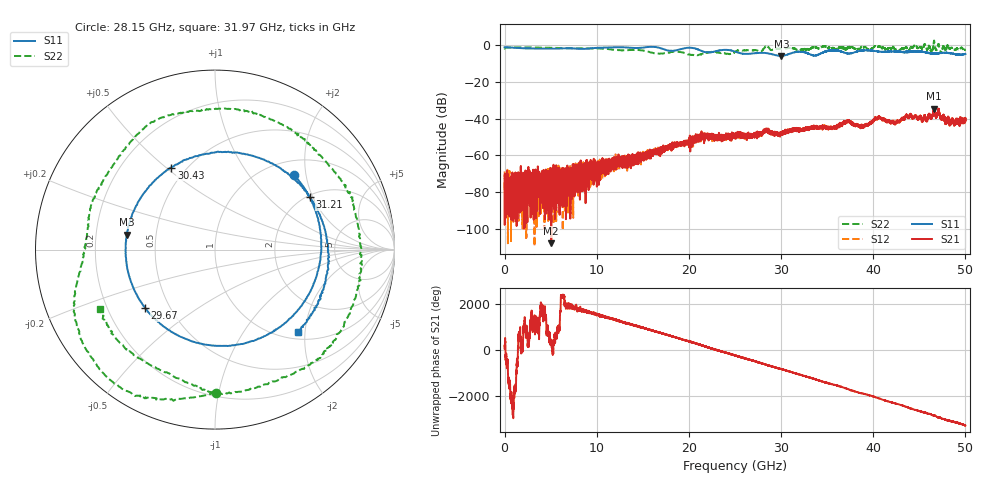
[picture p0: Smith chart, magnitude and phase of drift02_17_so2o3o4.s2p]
!Created with skrf (http://scikit-rf.org).
# Hz S RI R 50.0
!freq ReS11 ImS11 ReS21 ImS21 ReS12 ImS12 ReS22 ImS22
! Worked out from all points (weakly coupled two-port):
!   10001 points, 300 kHz to 50 GHz, reference 50 ohm
!   highest |S21| = -34.53 dB at 46.61 GHz (marker M1); lowest = -107.7 dB at 5.065 GHz (marker M2)
!   lowest |S11| = -6.1 dB at 30.04 GHz (marker M3), VSWR 2.97, Z = 16.9 + j3.72 ohm
!   |S11| at or under -10 dB: nowhere
!   |S22| runs from -5.7 to 2.4 dB; largest |S21 - S12| = 0.0032
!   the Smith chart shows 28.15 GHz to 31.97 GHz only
!   S11 on the Smith chart (normalised r, x): 28.15 GHz: 1.30, +1.71; 29.67 GHz: 0.36, -0.32; 30.43 GHz: 0.42, +0.52; 31.21 GHz: 2.07, +1.91; 31.97 GHz: 1.16, -1.84
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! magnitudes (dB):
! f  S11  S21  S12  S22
! 300 kHz  -1.3  -72.9  -68.7  -2.0
! 260.3 MHz  -1.4  -83.7  -76.0  -1.4
! 805.3 MHz  -1.5  -74.3  -79.9  -1.5
! 5.065 GHz  -2.1  -107.7  -73.0  -1.6
! 8.335 GHz  -2.2  -71.0  -64.9  -1.9
! 16.67 GHz  -1.5  -58.3  -57.7  -4.7
! 21.34 GHz  -3.2  -49.1  -50.6  -5.2
! 25 GHz  -3.7  -49.3  -48.8  -3.9
! 28.15 GHz  -4.4  -46.8  -47.7  -2.0
! 29.67 GHz  -5.9  -47.5  -48.4  -2.2
! 30.04 GHz  -6.1  -47.7  -48.1  -2.0
! 30.43 GHz  -5.7  -47.6  -47.4  -1.8
! 31.21 GHz  -4.4  -45.7  -46.2  -1.8
! 31.97 GHz  -3.7  -45.8  -46.0  -2.8
! 33.34 GHz  -5.5  -44.8  -44.5  -1.6
! 37.28 GHz  -4.7  -41.5  -41.6  -1.3
! 38.81 GHz  -3.1  -44.5  -44.3  -1.2
! 40.56 GHz  -3.6  -39.7  -39.1  -1.0
! 41.67 GHz  -3.7  -40.9  -40.8  -1.9
! 46.61 GHz  -4.7  -34.5  -34.3  2.4
! 48.49 GHz  -4.6  -41.0  -40.8  -1.6
! 50 GHz  -5.0  -40.0  -40.5  -2.7
